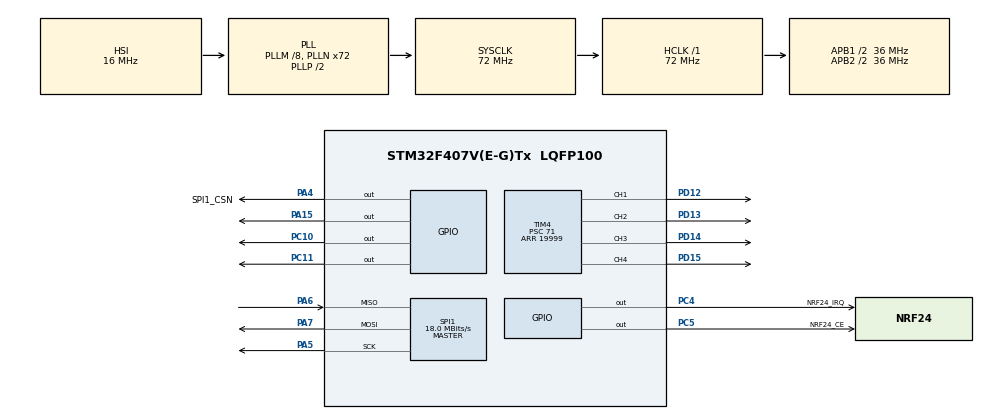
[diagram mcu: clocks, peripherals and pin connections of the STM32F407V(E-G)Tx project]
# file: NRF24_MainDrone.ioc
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Mcu.Family=STM32F4
Mcu.Name=STM32F407V(E-G)Tx
Mcu.Package=LQFP100
NVIC.PriorityGroup=NVIC_PRIORITYGROUP_4
PA13.Mode=Serial_Wire
PA13.Signal=SYS_JTMS-SWDIO
PA14.Mode=Serial_Wire
PA14.Signal=SYS_JTCK-SWCLK
PA15.Signal=GPIO_Output
PA4.GPIO_Label=SPI1_CSN
PA4.Signal=GPIO_Output
PA5.Mode=Full_Duplex_Master
PA5.Signal=SPI1_SCK
PA6.Mode=Full_Duplex_Master
PA6.Signal=SPI1_MISO
PA7.Mode=Full_Duplex_Master
PA7.Signal=SPI1_MOSI
PC10.Signal=GPIO_Output
PC11.Signal=GPIO_Output
PC4.GPIO_Label=NRF24_IRQ
PC4.Signal=GPIO_Output
PC5.GPIO_Label=NRF24_CE
PC5.Signal=GPIO_Output
PD12.Signal=S_TIM4_CH1
PD13.Signal=S_TIM4_CH2
PD14.Signal=S_TIM4_CH3
PD15.Signal=S_TIM4_CH4
ProjectManager.HeapSize=0x200
ProjectManager.StackSize=0x400
ProjectManager.TargetToolchain=STM32CubeIDE
RCC.48MHZClocksFreq_Value=36000000
RCC.AHBFreq_Value=72000000
RCC.APB1CLKDivider=RCC_HCLK_DIV2
RCC.APB1Freq_Value=36000000
RCC.APB1TimFreq_Value=72000000
RCC.APB2CLKDivider=RCC_HCLK_DIV2
RCC.APB2Freq_Value=36000000
RCC.APB2TimFreq_Value=72000000
RCC.CortexFreq_Value=72000000
RCC.HCLKFreq_Value=72000000
RCC.HSE_VALUE=25000000
RCC.HSI_VALUE=16000000
RCC.LSE_VALUE=32768
RCC.PLLM=8
RCC.PLLN=72
RCC.SYSCLKFreq_VALUE=72000000
RCC.SYSCLKSource=RCC_SYSCLKSOURCE_PLLCLK
RCC.VCOOutputFreq_Value=144000000
SH.S_TIM4_CH1.0=TIM4_CH1,PWM Generation1 CH1
SH.S_TIM4_CH2.0=TIM4_CH2,PWM Generation2 CH2
SH.S_TIM4_CH3.0=TIM4_CH3,PWM Generation3 CH3
SH.S_TIM4_CH4.0=TIM4_CH4,PWM Generation4 CH4
SPI1.BaudRatePrescaler=SPI_BAUDRATEPRESCALER_2
SPI1.CalculateBaudRate=18.0 MBits/s
SPI1.Direction=SPI_DIRECTION_2LINES
SPI1.Mode=SPI_MODE_MASTER
SPI1.VirtualType=VM_MASTER
TIM4.Channel-PWM\ Generation1\ CH1=TIM_CHANNEL_1
TIM4.Channel-PWM\ Generation2\ CH2=TIM_CHANNEL_2
TIM4.Channel-PWM\ Generation3\ CH3=TIM_CHANNEL_3
TIM4.Channel-PWM\ Generation4\ CH4=TIM_CHANNEL_4
TIM4.Period=19999
TIM4.Prescaler=71
VP_TIM4_VS_ClockSourceINT.Mode=Internal
board=custom

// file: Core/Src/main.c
/* USER CODE BEGIN Header */
/**
  ******************************************************************************
  * @file           : main.c
  * @brief          : Main program body
  ******************************************************************************
  * @attention
  *
  * Copyright (c) 2025 STMicroelectronics.
  * All rights reserved.
  *
  * This software is licensed under terms that can be found in the LICENSE file
  * in the root directory of this software component.
  * If no LICENSE file comes with this software, it is provided AS-IS.
  *
  ******************************************************************************
  */
/* USER CODE END Header */
#include "main.h"

/* USER CODE BEGIN Includes */
#include "NRF24.h"
/* USER CODE END Includes */

/* USER CODE BEGIN PD */
#define CHANGE_SPEED_MOTOR_FRONT_RIGHT_CCW(speedVal)   	htim4.Instance->CCR1=speedVal
#define CHANGE_SPEED_MOTOR_REAR_RIGHT_CW(speedVal)   	htim4.Instance->CCR2=speedVal
#define CHANGE_SPEED_MOTOR_REAR_LEFT_CCW(speedVal)  	htim4.Instance->CCR3=speedVal
#define CHANGE_SPEED_MOTOR_FRONT_LEFT_CW(speedVal)   	htim4.Instance->CCR4=speedVal
/* USER CODE END PD */

SPI_HandleTypeDef hspi1;

TIM_HandleTypeDef htim4;

void SystemClock_Config(void);
static void MX_GPIO_Init(void);
static void MX_SPI1_Init(void);
static void MX_TIM4_Init(void);

/* USER CODE BEGIN 0 */
uint8_t RxAddress[] = {0x00,0xDD,0xCC,0xBB,0xAA};
uint8_t RxData[32];
/* USER CODE END 0 */

int main(void)
{

  /* MCU Configuration--------------------------------------------------------*/

  /* Reset of all peripherals, Initializes the Flash interface and the Systick. */
  HAL_Init();

  /* Configure the system clock */
  SystemClock_Config();

  /* Initialize all configured peripherals */
  MX_GPIO_Init();
  MX_SPI1_Init();
  MX_TIM4_Init();
  /* USER CODE BEGIN 2 */

  // Start PWM cho 4 ESC
  HAL_TIM_PWM_Start(&htim4, TIM_CHANNEL_1);
  HAL_TIM_PWM_Start(&htim4, TIM_CHANNEL_2);
  HAL_TIM_PWM_Start(&htim4, TIM_CHANNEL_3);
  HAL_TIM_PWM_Start(&htim4, TIM_CHANNEL_4);

  // Arm ESC: giữ ở 1000 trong 2 giây
  CHANGE_SPEED_MOTOR_FRONT_RIGHT_CCW(1000);
  CHANGE_SPEED_MOTOR_REAR_RIGHT_CW(1000);
  CHANGE_SPEED_MOTOR_REAR_LEFT_CCW(1000);
  CHANGE_SPEED_MOTOR_FRONT_LEFT_CW(1000);
  HAL_Delay(2000);

  NRF24_Init();

  HAL_Delay(50);

  NRF24_RxMode(RxAddress, 10);
  /* USER CODE END 2 */

  /* Infinite loop */
  /* USER CODE BEGIN WHILE */
  while (1)
  {
	  if (isDataAvailable(2) == 1)
	  {
		  NRF24_Receive(RxData);
		  if(RxData[0] == 1)
		  {
			  CHANGE_SPEED_MOTOR_FRONT_RIGHT_CCW(1500);
			  CHANGE_SPEED_MOTOR_REAR_RIGHT_CW(1500);
			  CHANGE_SPEED_MOTOR_REAR_LEFT_CCW(1500);
			  CHANGE_SPEED_MOTOR_FRONT_LEFT_CW(1500);
		  } else
		  {
			  CHANGE_SPEED_MOTOR_FRONT_RIGHT_CCW(1000);
			  CHANGE_SPEED_MOTOR_REAR_RIGHT_CW(1000);
			  CHANGE_SPEED_MOTOR_REAR_LEFT_CCW(1000);
			  CHANGE_SPEED_MOTOR_FRONT_LEFT_CW(1000);
		  }
	   }

//		  if(RxData[1] == 1)
//		  {
//			  HAL_GPIO_TogglePin(GPIOA, GPIO_PIN_15);
//		  }
//
//		  if(RxData[2] == 1)
//		  {
//			  HAL_GPIO_TogglePin(GPIOC, GPIO_PIN_10);
//			  HAL_GPIO_TogglePin(GPIOA, GPIO_PIN_15);
//		  }
//
//		  if(RxData[3] == 1)
//		  {
//			  HAL_GPIO_TogglePin(GPIOC, GPIO_PIN_10);
//			  HAL_GPIO_TogglePin(GPIOA, GPIO_PIN_15);
//		  }
//
//		  if(RxData[4] == 1)
//		  {
//			  HAL_GPIO_TogglePin(GPIOA, GPIO_PIN_15);
//		  }
//
//		  if(RxData[5] == 1)
//		  {
//			  HAL_GPIO_TogglePin(GPIOA, GPIO_PIN_15);
//		  }
//
//		  if(RxData[6] == 1)
//		  {
//			  HAL_GPIO_TogglePin(GPIOA, GPIO_PIN_15);
//		  }
//
//		  if(RxData[7] == 1)
//		  {
//			  HAL_GPIO_TogglePin(GPIOA, GPIO_PIN_15);
//		  }
//
//		  if(RxData[8] == 1)
//		  {
//			  HAL_GPIO_TogglePin(GPIOA, GPIO_PIN_15);
//		  }
//
//		  if(RxData[9] == 1)
//		  {
//			  HAL_GPIO_TogglePin(GPIOA, GPIO_PIN_15);
//		  }
    /* USER CODE END WHILE */

  }
}

void SystemClock_Config(void)
{
  RCC_OscInitTypeDef RCC_OscInitStruct = {0};
  RCC_ClkInitTypeDef RCC_ClkInitStruct = {0};

  /** Configure the main internal regulator output voltage
  */
  __HAL_RCC_PWR_CLK_ENABLE();
  __HAL_PWR_VOLTAGESCALING_CONFIG(PWR_REGULATOR_VOLTAGE_SCALE1);

  /** Initializes the RCC Oscillators according to the specified parameters
  * in the RCC_OscInitTypeDef structure.
  */
  RCC_OscInitStruct.OscillatorType = RCC_OSCILLATORTYPE_HSI;
  RCC_OscInitStruct.HSIState = RCC_HSI_ON;
  RCC_OscInitStruct.HSICalibrationValue = RCC_HSICALIBRATION_DEFAULT;
  RCC_OscInitStruct.PLL.PLLState = RCC_PLL_ON;
  RCC_OscInitStruct.PLL.PLLSource = RCC_PLLSOURCE_HSI;
  RCC_OscInitStruct.PLL.PLLM = 8;
  RCC_OscInitStruct.PLL.PLLN = 72;
  RCC_OscInitStruct.PLL.PLLP = RCC_PLLP_DIV2;
  RCC_OscInitStruct.PLL.PLLQ = 4;
  if (HAL_RCC_OscConfig(&RCC_OscInitStruct) != HAL_OK)
  {
    Error_Handler();
  }

  /** Initializes the CPU, AHB and APB buses clocks
  */
  RCC_ClkInitStruct.ClockType = RCC_CLOCKTYPE_HCLK|RCC_CLOCKTYPE_SYSCLK
                              |RCC_CLOCKTYPE_PCLK1|RCC_CLOCKTYPE_PCLK2;
  RCC_ClkInitStruct.SYSCLKSource = RCC_SYSCLKSOURCE_PLLCLK;
  RCC_ClkInitStruct.AHBCLKDivider = RCC_SYSCLK_DIV1;
  RCC_ClkInitStruct.APB1CLKDivider = RCC_HCLK_DIV2;
  RCC_ClkInitStruct.APB2CLKDivider = RCC_HCLK_DIV2;

  if (HAL_RCC_ClockConfig(&RCC_ClkInitStruct, FLASH_LATENCY_2) != HAL_OK)
  {
    Error_Handler();
  }
}

static void MX_SPI1_Init(void)
{

  /* SPI1 parameter configuration*/
  hspi1.Instance = SPI1;
  hspi1.Init.Mode = SPI_MODE_MASTER;
  hspi1.Init.Direction = SPI_DIRECTION_2LINES;
  hspi1.Init.DataSize = SPI_DATASIZE_8BIT;
  hspi1.Init.CLKPolarity = SPI_POLARITY_LOW;
  hspi1.Init.CLKPhase = SPI_PHASE_1EDGE;
  hspi1.Init.NSS = SPI_NSS_SOFT;
  hspi1.Init.BaudRatePrescaler = SPI_BAUDRATEPRESCALER_2;
  hspi1.Init.FirstBit = SPI_FIRSTBIT_MSB;
  hspi1.Init.TIMode = SPI_TIMODE_DISABLE;
  hspi1.Init.CRCCalculation = SPI_CRCCALCULATION_DISABLE;
  hspi1.Init.CRCPolynomial = 10;
  if (HAL_SPI_Init(&hspi1) != HAL_OK)
  {
    Error_Handler();
  }

}

static void MX_TIM4_Init(void)
{

  TIM_ClockConfigTypeDef sClockSourceConfig = {0};
  TIM_MasterConfigTypeDef sMasterConfig = {0};
  TIM_OC_InitTypeDef sConfigOC = {0};

  htim4.Instance = TIM4;
  htim4.Init.Prescaler = 71;
  htim4.Init.CounterMode = TIM_COUNTERMODE_UP;
  htim4.Init.Period = 19999;
  htim4.Init.ClockDivision = TIM_CLOCKDIVISION_DIV1;
  htim4.Init.AutoReloadPreload = TIM_AUTORELOAD_PRELOAD_DISABLE;
  if (HAL_TIM_Base_Init(&htim4) != HAL_OK)
  {
    Error_Handler();
  }
  sClockSourceConfig.ClockSource = TIM_CLOCKSOURCE_INTERNAL;
  if (HAL_TIM_ConfigClockSource(&htim4, &sClockSourceConfig) != HAL_OK)
  {
    Error_Handler();
  }
  if (HAL_TIM_PWM_Init(&htim4) != HAL_OK)
  {
    Error_Handler();
  }
  sMasterConfig.MasterOutputTrigger = TIM_TRGO_RESET;
  sMasterConfig.MasterSlaveMode = TIM_MASTERSLAVEMODE_DISABLE;
  if (HAL_TIMEx_MasterConfigSynchronization(&htim4, &sMasterConfig) != HAL_OK)
  {
    Error_Handler();
  }
  sConfigOC.OCMode = TIM_OCMODE_PWM1;
  sConfigOC.Pulse = 0;
  sConfigOC.OCPolarity = TIM_OCPOLARITY_HIGH;
  sConfigOC.OCFastMode = TIM_OCFAST_DISABLE;
  if (HAL_TIM_PWM_ConfigChannel(&htim4, &sConfigOC, TIM_CHANNEL_1) != HAL_OK)
  {
    Error_Handler();
  }
  if (HAL_TIM_PWM_ConfigChannel(&htim4, &sConfigOC, TIM_CHANNEL_2) != HAL_OK)
  {
    Error_Handler();
  }
  if (HAL_TIM_PWM_ConfigChannel(&htim4, &sConfigOC, TIM_CHANNEL_3) != HAL_OK)
  {
    Error_Handler();
  }
  if (HAL_TIM_PWM_ConfigChannel(&htim4, &sConfigOC, TIM_CHANNEL_4) != HAL_OK)
  {
    Error_Handler();
  }
  HAL_TIM_MspPostInit(&htim4);

}

static void MX_GPIO_Init(void)
{
  GPIO_InitTypeDef GPIO_InitStruct = {0};

  /* GPIO Ports Clock Enable */
  __HAL_RCC_GPIOA_CLK_ENABLE();
  __HAL_RCC_GPIOC_CLK_ENABLE();
  __HAL_RCC_GPIOD_CLK_ENABLE();

  /*Configure GPIO pin Output Level */
  HAL_GPIO_WritePin(GPIOA, SPI1_CSN_Pin|GPIO_PIN_15, GPIO_PIN_RESET);

  /*Configure GPIO pin Output Level */
  HAL_GPIO_WritePin(GPIOC, NRF24_IRQ_Pin|NRF24_CE_Pin|GPIO_PIN_10|GPIO_PIN_11, GPIO_PIN_RESET);

  /*Configure GPIO pins : SPI1_CSN_Pin PA15 */
  GPIO_InitStruct.Pin = SPI1_CSN_Pin|GPIO_PIN_15;
  GPIO_InitStruct.Mode = GPIO_MODE_OUTPUT_PP;
  GPIO_InitStruct.Pull = GPIO_NOPULL;
  GPIO_InitStruct.Speed = GPIO_SPEED_FREQ_LOW;
  HAL_GPIO_Init(GPIOA, &GPIO_InitStruct);

  /*Configure GPIO pins : NRF24_IRQ_Pin NRF24_CE_Pin PC10 PC11 */
  GPIO_InitStruct.Pin = NRF24_IRQ_Pin|NRF24_CE_Pin|GPIO_PIN_10|GPIO_PIN_11;
  GPIO_InitStruct.Mode = GPIO_MODE_OUTPUT_PP;
  GPIO_InitStruct.Pull = GPIO_NOPULL;
  GPIO_InitStruct.Speed = GPIO_SPEED_FREQ_LOW;
  HAL_GPIO_Init(GPIOC, &GPIO_InitStruct);

}

void Error_Handler(void)
{
  __disable_irq();
  while (1)
  {
  }
}
